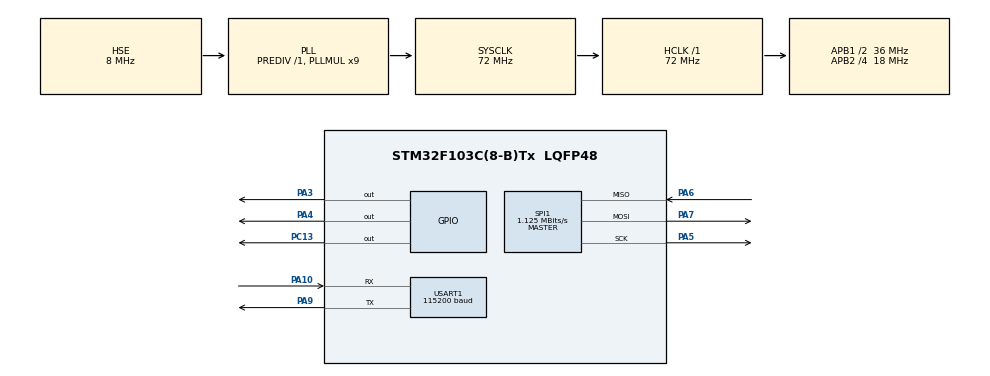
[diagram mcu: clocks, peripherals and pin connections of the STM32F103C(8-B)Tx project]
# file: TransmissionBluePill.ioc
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Mcu.Family=STM32F1
Mcu.Name=STM32F103C(8-B)Tx
Mcu.Package=LQFP48
NVIC.PriorityGroup=NVIC_PRIORITYGROUP_4
NVIC.USART1_IRQn=true\:0\:0\:false\:false\:true\:true\:true\:true
PA10.Mode=Asynchronous
PA10.Signal=USART1_RX
PA13.Mode=Serial_Wire
PA13.Signal=SYS_JTMS-SWDIO
PA14.Mode=Serial_Wire
PA14.Signal=SYS_JTCK-SWCLK
PA3.Signal=GPIO_Output
PA4.Signal=GPIO_Output
PA5.Mode=Full_Duplex_Master
PA5.Signal=SPI1_SCK
PA6.Mode=Full_Duplex_Master
PA6.Signal=SPI1_MISO
PA7.Mode=Full_Duplex_Master
PA7.Signal=SPI1_MOSI
PA9.Mode=Asynchronous
PA9.Signal=USART1_TX
PC13-TAMPER-RTC.Signal=GPIO_Output
PD0-OSC_IN.Mode=HSE-External-Oscillator
PD0-OSC_IN.Signal=RCC_OSC_IN
PD1-OSC_OUT.Mode=HSE-External-Oscillator
PD1-OSC_OUT.Signal=RCC_OSC_OUT
ProjectManager.HeapSize=0x200
ProjectManager.StackSize=0x400
ProjectManager.TargetToolchain=STM32CubeIDE
RCC.AHBFreq_Value=72000000
RCC.APB1CLKDivider=RCC_HCLK_DIV2
RCC.APB1Freq_Value=36000000
RCC.APB1TimFreq_Value=72000000
RCC.APB2CLKDivider=RCC_HCLK_DIV4
RCC.APB2Freq_Value=18000000
RCC.APB2TimFreq_Value=36000000
RCC.HCLKFreq_Value=72000000
RCC.PLLMUL=RCC_PLL_MUL9
RCC.PLLSourceVirtual=RCC_PLLSOURCE_HSE
RCC.SYSCLKFreq_VALUE=72000000
RCC.SYSCLKSource=RCC_SYSCLKSOURCE_PLLCLK
RCC.USBFreq_Value=72000000
SPI1.BaudRatePrescaler=SPI_BAUDRATEPRESCALER_16
SPI1.CalculateBaudRate=1.125 MBits/s
SPI1.Direction=SPI_DIRECTION_2LINES
SPI1.Mode=SPI_MODE_MASTER
SPI1.VirtualType=VM_MASTER
USART1.BaudRate=115200
USART1.Parity=PARITY_NONE
USART1.StopBits=STOPBITS_1
USART1.VirtualMode=VM_ASYNC
board=custom

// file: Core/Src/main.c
/* USER CODE BEGIN Header */
/**
  ******************************************************************************
  * @file           : main.c
  * @brief          : Main program body
  ******************************************************************************
  * @attention
  *
  * Copyright (c) 2024 STMicroelectronics.
  * All rights reserved.
  *
  * This software is licensed under terms that can be found in the LICENSE file
  * in the root directory of this software component.
  * If no LICENSE file comes with this software, it is provided AS-IS.
  *
  ******************************************************************************
  */
/* USER CODE END Header */
#include "main.h"

/* USER CODE BEGIN Includes */
#include "nrf24l01.h"
/* USER CODE END Includes */

/* USER CODE BEGIN PD */
uint8_t TxAdress0[] = {1,2,3,4,5};
int Valores[12] = {0,0,0,0,0,0,0,0,0,0,0,0};

int TxData[6]={111,0,0,0,0,112};
uint8_t RxData[1];
uint8_t ReadMemManco = 0;
/* USER CODE END PD */

SPI_HandleTypeDef hspi1;

UART_HandleTypeDef huart1;

void SystemClock_Config(void);
static void MX_GPIO_Init(void);
static void MX_SPI1_Init(void);
static void MX_USART1_UART_Init(void);

/* USER CODE BEGIN 0 */
void Tx_mode(uint8_t Adress[5]){

	if(NRF_Init(&hspi1, GPIOA, GPIO_PIN_3, GPIOA, GPIO_PIN_4) != NRF_OK){
		Error_Handler();
	}

	NRF_Reset();
	NRF_WriteRegister(NRF_REG_TX_ADDR,Adress,5);
	//Para enviar a mensagem usar função transmitandwait
	NRF_WriteRegister(NRF_REG_RX_ADDR_P0, Adress, 5);
}

void changeChannel(uint8_t n){
	NRF_EnterMode(NRF_MODE_STANDBY1);
	if(n==0){
		NRF_WriteRegisterByte(NRF_REG_RF_CH,0x4); //Canal 3
	}
	if(n==1){
		NRF_WriteRegisterByte(NRF_REG_RF_CH,0x3); //Canal 4
	}
	if(n==2){
		NRF_WriteRegisterByte(NRF_REG_RF_CH,0x2); //Canal 5
	}
	NRF_EnterMode(NRF_MODE_TX);
}
NRF_Status ReceiveData (uint8_t *data, uint32_t len){
	NRF_Status ret = NRF_ERROR;
	uint8_t status = NRF_ReadStatus();
	uint8_t STATUS_REGISTER_RX_DR_BIT = 6;
	if(status & (1<<STATUS_REGISTER_RX_DR_BIT)){
		NRF_ReadPayload(data,len);
		ret = NRF_OK;
		NRF_SetRegisterBit(NRF_REG_STATUS, 6);
	} else {
		ret = NRF_ERROR;
	}
	return ret;
}
/* USER CODE END 0 */

int main(void)
{

  /* MCU Configuration--------------------------------------------------------*/

  /* Reset of all peripherals, Initializes the Flash interface and the Systick. */
  HAL_Init();

  /* Configure the system clock */
  SystemClock_Config();

  /* Initialize all configured peripherals */
  MX_GPIO_Init();
  MX_SPI1_Init();
  MX_USART1_UART_Init();
  /* USER CODE BEGIN 2 */
  Tx_mode(TxAdress0);

  NRF_Status ret = NRF_OK;
  /* USER CODE END 2 */

  /* Infinite loop */
  /* USER CODE BEGIN WHILE */
  int Valores[12] = {0,0,0,0,0,0,0,0,0,0,0,0};
  int Returns[9]={0,0,0,0,0,0,0,0,0};
  uint32_t acumulador[3] = {0,0,0};
  char message[100] = {'\0'};
  HAL_StatusTypeDef ret_uart = HAL_TIMEOUT;
  while (1)
  {
	  	  //CDC_Receive_FS(Valores,sizeof(Valores));
	  	  HAL_UART_Receive_IT(&huart1,Valores,sizeof(Valores));
	  	  HAL_Delay(10);
	  	  sprintf(message, "%d %d %d %d %d %d %d %d %d\n\r",Valores[0],Valores[1],Valores[2],Returns[3],Returns[4],Returns[5],Returns[6],Returns[7],Returns[8],Returns[9]);
	  	  HAL_UART_Transmit_IT(&huart1,message,sizeof(message));

			//CDC_Transmit_FS(message,sizeof(message));

			HAL_GPIO_TogglePin(GPIOC, GPIO_PIN_13);
	 	 	//Loop entre Robos
	 	 	 for(uint8_t i=0; i<3;i++){
	 	 		 changeChannel(i); //Troca o canal para o  do robo especifico
	 	 		 //Salva a variável para envio em seu respectivo vetor
	 	 		 for(uint8_t n=0; n<4;n++){
	 	 			 TxData[n+1] = Valores[n+4*i];
	 	 		 }

	 	 		 /*  				Retorno	 para software			*/
	 	 		 uint32_t Start = HAL_GetTick(); //Tempo de início de transmissão
	 	 		 ret = NRF_TransmitAndWait(TxData, sizeof(TxData)); //Transmissão da mensagem
	 	 		 uint32_t End = HAL_GetTick(); //Tempo de fim de transmissão
	 	 		 acumulador[i]+= End - Start; //Acumulador de tempo de latência
	 	 		 uint8_t ploss = NRF_ReadPacketLoss();//Leitura da perda de pacotes
	 	 		 Returns[i+3] = acumulador[i];
	 	 		 if(ret == NRF_OK){
	 	 			 //Pino de confirmação
	 	 			 //HAL_GPIO_TogglePin(GPIOB, GPIO_PIN_14);
	 	 			 int retorno = 0;
	 	 			 Returns[i] = retorno;
	 	 			 Returns[i+6] = ploss;
	 	 			 acumulador[i] = 0;
	 	 		 } else if(ret == NRF_MAX_RT) {
	 	 			 //HAL_GPIO_TogglePin(GPIOC, GPIO_PIN_13);

	 	 		 } else {
	 	 			 //HAL_GPIO_TogglePin(GPIOB, GPIO_PIN_0);
	 	 		 }
	 	 	 }

	 	 	//HAL_Delay(1);
    /* USER CODE END WHILE */

  }
}

void SystemClock_Config(void)
{
  RCC_OscInitTypeDef RCC_OscInitStruct = {0};
  RCC_ClkInitTypeDef RCC_ClkInitStruct = {0};

  /** Initializes the RCC Oscillators according to the specified parameters
  * in the RCC_OscInitTypeDef structure.
  */
  RCC_OscInitStruct.OscillatorType = RCC_OSCILLATORTYPE_HSE;
  RCC_OscInitStruct.HSEState = RCC_HSE_ON;
  RCC_OscInitStruct.HSEPredivValue = RCC_HSE_PREDIV_DIV1;
  RCC_OscInitStruct.HSIState = RCC_HSI_ON;
  RCC_OscInitStruct.PLL.PLLState = RCC_PLL_ON;
  RCC_OscInitStruct.PLL.PLLSource = RCC_PLLSOURCE_HSE;
  RCC_OscInitStruct.PLL.PLLMUL = RCC_PLL_MUL9;
  if (HAL_RCC_OscConfig(&RCC_OscInitStruct) != HAL_OK)
  {
    Error_Handler();
  }

  /** Initializes the CPU, AHB and APB buses clocks
  */
  RCC_ClkInitStruct.ClockType = RCC_CLOCKTYPE_HCLK|RCC_CLOCKTYPE_SYSCLK
                              |RCC_CLOCKTYPE_PCLK1|RCC_CLOCKTYPE_PCLK2;
  RCC_ClkInitStruct.SYSCLKSource = RCC_SYSCLKSOURCE_PLLCLK;
  RCC_ClkInitStruct.AHBCLKDivider = RCC_SYSCLK_DIV1;
  RCC_ClkInitStruct.APB1CLKDivider = RCC_HCLK_DIV2;
  RCC_ClkInitStruct.APB2CLKDivider = RCC_HCLK_DIV4;

  if (HAL_RCC_ClockConfig(&RCC_ClkInitStruct, FLASH_LATENCY_2) != HAL_OK)
  {
    Error_Handler();
  }
}

static void MX_SPI1_Init(void)
{

  /* SPI1 parameter configuration*/
  hspi1.Instance = SPI1;
  hspi1.Init.Mode = SPI_MODE_MASTER;
  hspi1.Init.Direction = SPI_DIRECTION_2LINES;
  hspi1.Init.DataSize = SPI_DATASIZE_8BIT;
  hspi1.Init.CLKPolarity = SPI_POLARITY_LOW;
  hspi1.Init.CLKPhase = SPI_PHASE_1EDGE;
  hspi1.Init.NSS = SPI_NSS_SOFT;
  hspi1.Init.BaudRatePrescaler = SPI_BAUDRATEPRESCALER_16;
  hspi1.Init.FirstBit = SPI_FIRSTBIT_MSB;
  hspi1.Init.TIMode = SPI_TIMODE_DISABLE;
  hspi1.Init.CRCCalculation = SPI_CRCCALCULATION_DISABLE;
  hspi1.Init.CRCPolynomial = 10;
  if (HAL_SPI_Init(&hspi1) != HAL_OK)
  {
    Error_Handler();
  }

}

static void MX_USART1_UART_Init(void)
{

  huart1.Instance = USART1;
  huart1.Init.BaudRate = 115200;
  huart1.Init.WordLength = UART_WORDLENGTH_8B;
  huart1.Init.StopBits = UART_STOPBITS_1;
  huart1.Init.Parity = UART_PARITY_NONE;
  huart1.Init.Mode = UART_MODE_TX_RX;
  huart1.Init.HwFlowCtl = UART_HWCONTROL_NONE;
  huart1.Init.OverSampling = UART_OVERSAMPLING_16;
  if (HAL_UART_Init(&huart1) != HAL_OK)
  {
    Error_Handler();
  }

}

static void MX_GPIO_Init(void)
{
  GPIO_InitTypeDef GPIO_InitStruct = {0};

  /* GPIO Ports Clock Enable */
  __HAL_RCC_GPIOC_CLK_ENABLE();
  __HAL_RCC_GPIOD_CLK_ENABLE();
  __HAL_RCC_GPIOA_CLK_ENABLE();

  /*Configure GPIO pin Output Level */
  HAL_GPIO_WritePin(GPIOC, GPIO_PIN_13, GPIO_PIN_RESET);

  /*Configure GPIO pin Output Level */
  HAL_GPIO_WritePin(GPIOA, GPIO_PIN_3|GPIO_PIN_4, GPIO_PIN_RESET);

  /*Configure GPIO pin : PC13 */
  GPIO_InitStruct.Pin = GPIO_PIN_13;
  GPIO_InitStruct.Mode = GPIO_MODE_OUTPUT_PP;
  GPIO_InitStruct.Pull = GPIO_NOPULL;
  GPIO_InitStruct.Speed = GPIO_SPEED_FREQ_LOW;
  HAL_GPIO_Init(GPIOC, &GPIO_InitStruct);

  /*Configure GPIO pins : PA3 PA4 */
  GPIO_InitStruct.Pin = GPIO_PIN_3|GPIO_PIN_4;
  GPIO_InitStruct.Mode = GPIO_MODE_OUTPUT_PP;
  GPIO_InitStruct.Pull = GPIO_NOPULL;
  GPIO_InitStruct.Speed = GPIO_SPEED_FREQ_LOW;
  HAL_GPIO_Init(GPIOA, &GPIO_InitStruct);

}

void Error_Handler(void)
{
  __disable_irq();
  while (1)
  {
  }
}
